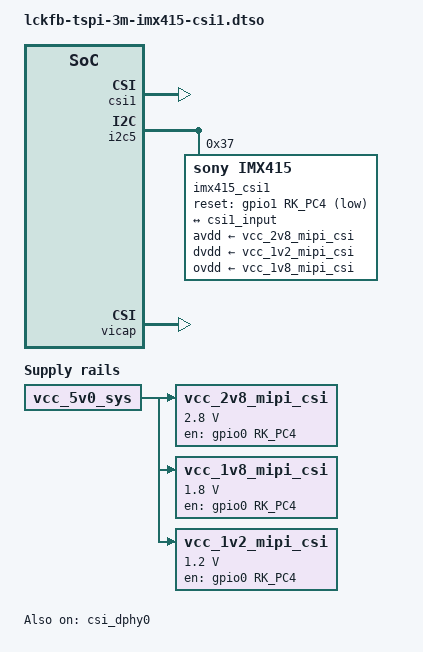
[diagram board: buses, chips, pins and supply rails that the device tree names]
// SPDX-License-Identifier: (GPL-2.0+ OR MIT)
/*
 * LCKFB TaishanPi 3M: Sony IMX415 camera module (CMK-OT2022-PX1) on the
 * MIPI-CSI-1 connector.
 *
 * NOT run on hardware with any kernel: the camera has only been used on
 * the MIPI-CSI-3 connector. Wiring is from LCKFB's vendor kernel device
 * tree (rk3576-lckfb-tspi-3m-csi1.dtsi).
 *
 * Data path (mainline, v7.4-rc1 or later):
 *   imx415 (4 lanes) -> csi_dphy0 (Innosilicon D-PHY 0, full mode)
 *   -> csi1 (Synopsys CSI-2 receiver MIPI1) -> vicap port@2 (MIPI1)
 * This is the same SoC path as the Radxa Camera 4K on the ROCK 4D
 * (rk3576-rock-4d-radxa-cam4k.dtso), which upstream tested.
 *
 * - I2C5 on i2c5m3, sensor at 0x37 (vendor DT also lists 0x1a)
 * - MCLK from CLK_MIPI_CAMERAOUT_M1 on cam_clk1m0 (GPIO4_A0), 37.125 MHz
 * - XCLR (reset) on GPIO1_C4, active low
 * - vendor "pwdn-gpios" on GPIO1_C5 is not driven (see the CSI-3 overlay)
 * - the camera rails are shared with the other connectors (GPIO0_C4)
 */

/dts-v1/;
/plugin/;

#include <dt-bindings/clock/rockchip,rk3576-cru.h>
#include <dt-bindings/gpio/gpio.h>
#include <dt-bindings/media/video-interfaces.h>
#include <dt-bindings/pinctrl/rockchip.h>

&{/} {
	/* Same nodes as in the CSI-3 overlay; loading both merges them. */
	vcc_2v8_mipi_csi: regulator-vcc-2v8-mipi-csi {
		compatible = "regulator-fixed";
		enable-active-high;
		gpio = <&gpio0 RK_PC4 GPIO_ACTIVE_HIGH>;
		pinctrl-names = "default";
		pinctrl-0 = <&mipi_csi_pwr_en>;
		regulator-name = "vcc_2v8_mipi_csi";
		regulator-min-microvolt = <2800000>;
		regulator-max-microvolt = <2800000>;
		vin-supply = <&vcc_5v0_sys>;
	};

	vcc_1v8_mipi_csi: regulator-vcc-1v8-mipi-csi {
		compatible = "regulator-fixed";
		enable-active-high;
		gpio = <&gpio0 RK_PC4 GPIO_ACTIVE_HIGH>;
		regulator-name = "vcc_1v8_mipi_csi";
		regulator-min-microvolt = <1800000>;
		regulator-max-microvolt = <1800000>;
		vin-supply = <&vcc_5v0_sys>;
	};

	vcc_1v2_mipi_csi: regulator-vcc-1v2-mipi-csi {
		compatible = "regulator-fixed";
		enable-active-high;
		gpio = <&gpio0 RK_PC4 GPIO_ACTIVE_HIGH>;
		regulator-name = "vcc_1v2_mipi_csi";
		regulator-min-microvolt = <1200000>;
		regulator-max-microvolt = <1200000>;
		vin-supply = <&vcc_5v0_sys>;
	};
};

&csi1 {
	status = "okay";
};

&csi1_in {
	csi1_input: endpoint {
		bus-type = <MEDIA_BUS_TYPE_CSI2_DPHY>;
		data-lanes = <1 2 3 4>;
		link-frequencies = /bits/ 64 <445500000>;
		remote-endpoint = <&imx415_csi1_output>;
	};
};

&csi_dphy0 {
	status = "okay";
};

&i2c5 {
	pinctrl-names = "default";
	pinctrl-0 = <&i2c5m3_xfer>;
	#address-cells = <1>;
	#size-cells = <0>;
	status = "okay";

	imx415_csi1: camera-sensor@37 {
		compatible = "sony,imx415";
		reg = <0x37>;
		assigned-clocks = <&cru CLK_MIPI_CAMERAOUT_M1>;
		assigned-clock-rates = <37125000>;
		avdd-supply = <&vcc_2v8_mipi_csi>;
		clocks = <&cru CLK_MIPI_CAMERAOUT_M1>;
		dvdd-supply = <&vcc_1v2_mipi_csi>;
		orientation = <2>; /* External */
		ovdd-supply = <&vcc_1v8_mipi_csi>;
		pinctrl-names = "default";
		pinctrl-0 = <&cam1_rstn &cam_clk1m0_clk1>;
		reset-gpios = <&gpio1 RK_PC4 GPIO_ACTIVE_LOW>;

		port {
			imx415_csi1_output: endpoint {
				data-lanes = <1 2 3 4>;
				link-frequencies = /bits/ 64 <445500000>;
				remote-endpoint = <&csi1_input>;
			};
		};
	};
};

&pinctrl {
	cam {
		mipi_csi_pwr_en: mipi-csi-pwr-en {
			rockchip,pins = <0 RK_PC4 RK_FUNC_GPIO &pcfg_pull_none>;
		};

		cam1_rstn: cam1-rstn {
			rockchip,pins = <1 RK_PC4 RK_FUNC_GPIO &pcfg_pull_none>;
		};
	};
};

&vicap {
	status = "okay";
};

&vicap_mmu {
	status = "okay";
};
